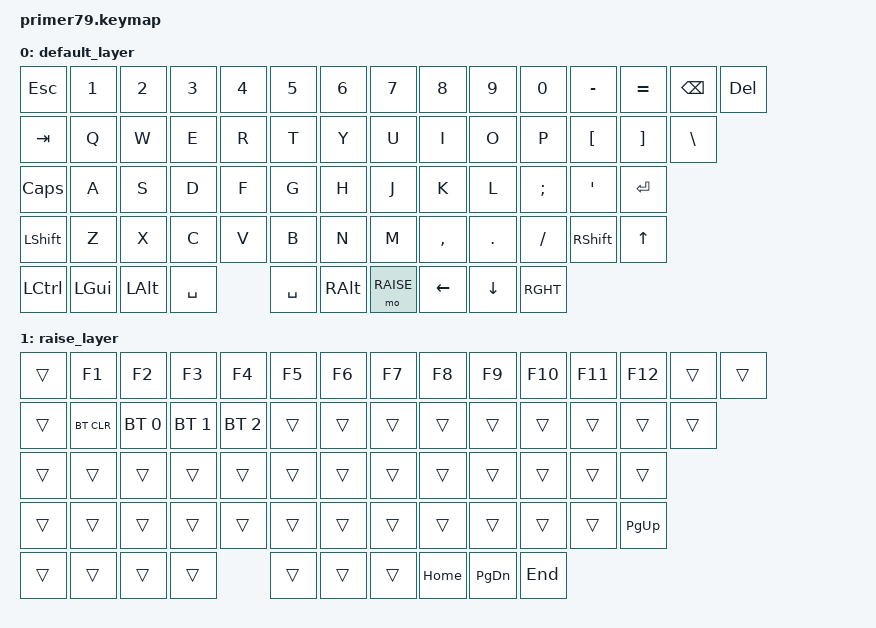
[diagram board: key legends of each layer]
// primer79.keymap
/*
 * Copyright (c) 2020 The ZMK Contributors
 *
 * SPDX-License-Identifier: MIT
 */

#include <behaviors.dtsi>
#include <dt-bindings/zmk/keys.h>
#include <dt-bindings/zmk/bt.h>

// レイヤー定義
#define BASE 0
#define RAISE 1

// --- キーマップ本体 ---
/ {
    keymap {
        compatible = "zmk,keymap";

        default_layer {
            bindings = <
            &kp ESC      &kp N1       &kp N2       &kp N3       &kp N4       &kp N5       &kp N6       &kp N7       &kp N8       &kp N9       &kp N0       &kp MINUS    &kp EQUAL    &kp BSPC     &kp DEL
            &kp TAB      &kp Q        &kp W        &kp E        &kp R        &kp T        &kp Y        &kp U        &kp I        &kp O        &kp P        &kp LBKT     &kp RBKT     &kp BSLH
            &kp CAPS     &kp A        &kp S        &kp D        &kp F        &kp G        &kp H        &kp J        &kp K        &kp L        &kp SEMI     &kp SQT      &kp RET
            &kp LSHFT    &kp Z        &kp X        &kp C        &kp V        &kp B        &kp N        &kp M        &kp COMMA    &kp DOT      &kp FSLH     &kp RSHFT    &kp UP
            &kp LCTRL    &kp LGUI     &kp LALT     &kp SPACE                 &kp SPACE    &kp RALT     &mo RAISE    &kp LEFT     &kp DOWN     &kp RGHT
            >;
        };

        raise_layer {
            bindings = <
            &trans       &kp F1       &kp F2       &kp F3       &kp F4       &kp F5       &kp F6       &kp F7       &kp F8       &kp F9       &kp F10      &kp F11      &kp F12      &trans       &trans
            &trans       &bt BT_CLR   &bt BT_SEL 0 &bt BT_SEL 1 &bt BT_SEL 2 &trans       &trans       &trans       &trans       &trans       &trans       &trans       &trans       &trans
            &trans       &trans       &trans       &trans       &trans       &trans       &trans       &trans       &trans       &trans       &trans       &trans       &trans
            &trans       &trans       &trans       &trans       &trans       &trans       &trans       &trans       &trans       &trans       &trans       &trans       &kp PG_UP
            &trans       &trans       &trans       &trans                    &trans       &trans       &trans       &kp HOME     &kp PG_DN    &kp END
            >;
        };
    };
};
